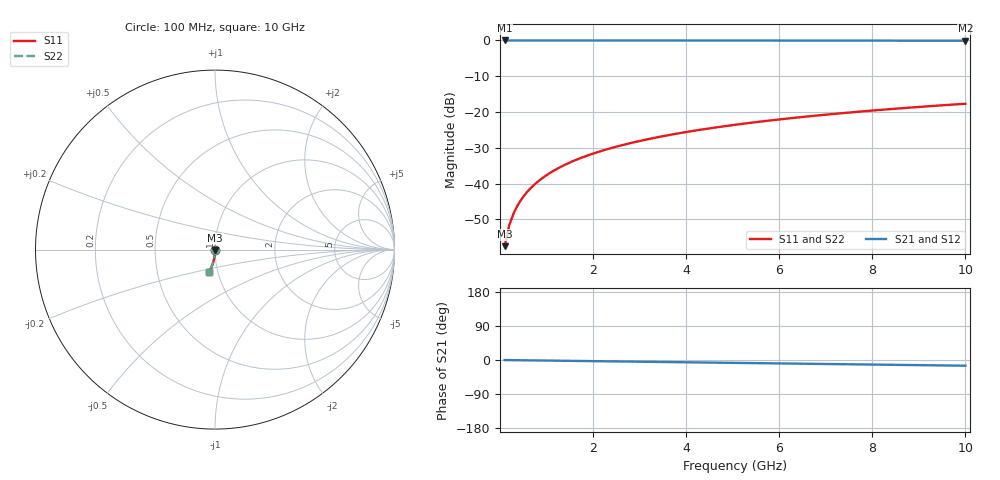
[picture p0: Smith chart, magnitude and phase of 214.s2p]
# Hz S RI R 50.00
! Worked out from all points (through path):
!   100 points, 100 MHz to 10 GHz, reference 50 ohm
!   highest |S21| = 0.00 dB at 100 MHz (marker M1); lowest = -0.1 dB at 10 GHz (marker M2)
!   group delay of S21, straight-line fit = 4.19 ps
!   lowest |S11| = -57.5 dB at 100 MHz (marker M3), VSWR 1.00, Z = 50 - j0.131 ohm
!   |S11| at or under -10 dB: start of sweep to end of sweep
!   |S22| runs from -57.5 to -17.7 dB; largest |S21 - S12| = 0
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1e8  0.000259 -0.00131  0.9997 -0.00261  0.9997 -0.00261  0.000259 -0.00131
2e8  0.000249 -0.00262  0.9997 -0.00522  0.9997 -0.00522  0.000249 -0.00262
3e8  0.000231 -0.00393  0.9997 -0.00783  0.9997 -0.00783  0.000231 -0.00393
4e8  0.000206 -0.00524  0.9997 -0.0104  0.9997 -0.0104  0.000206 -0.00524
5e8  0.000174 -0.00655  0.9996 -0.0131  0.9996 -0.0131  0.000174 -0.00655
6e8  0.000136 -0.00786  0.9996 -0.0157  0.9996 -0.0157  0.000136 -0.00786
7e8  9.01e-05 -0.00917  0.9995 -0.0183  0.9995 -0.0183  9.01e-05 -0.00917
8e8  3.75e-05 -0.0105  0.9994 -0.0209  0.9994 -0.0209  3.75e-05 -0.0105
9e8  -2.2e-05 -0.0118  0.9994 -0.0235  0.9994 -0.0235  -2.2e-05 -0.0118
1.1e9  -0.000162 -0.0144  0.9992 -0.0287  0.9992 -0.0287  -0.000162 -0.0144
1.4e9  -0.000423 -0.0183  0.9989 -0.0366  0.9989 -0.0366  -0.000423 -0.0183
1.8e9  -0.000867 -0.0236  0.9983 -0.047  0.9983 -0.047  -0.000867 -0.0236
2.1e9  -0.00127 -0.0275  0.9978 -0.0549  0.9978 -0.0549  -0.00127 -0.0275
2.5e9  -0.00191 -0.0327  0.997 -0.0653  0.997 -0.0653  -0.00191 -0.0327
2.9e9  -0.00266 -0.038  0.9961 -0.0757  0.9961 -0.0757  -0.00266 -0.038
3.4e9  -0.00375 -0.0445  0.9947 -0.0888  0.9947 -0.0888  -0.00375 -0.0445
4.2e9  -0.00585 -0.0548  0.9921 -0.1096  0.9921 -0.1096  -0.00585 -0.0548
5.1e9  -0.00873 -0.0664  0.9885 -0.133  0.9885 -0.133  -0.00873 -0.0664
5.9e9  -0.0118 -0.0765  0.9847 -0.1537  0.9847 -0.1537  -0.0118 -0.0765
6.7e9  -0.0152 -0.0865  0.9803 -0.1743  0.9803 -0.1743  -0.0152 -0.0865
8.4e9  -0.0239 -0.1073  0.9694 -0.2176  0.9694 -0.2176  -0.0239 -0.1073
1e10  -0.0338 -0.126  0.9569 -0.2576  0.9569 -0.2576  -0.0338 -0.126
